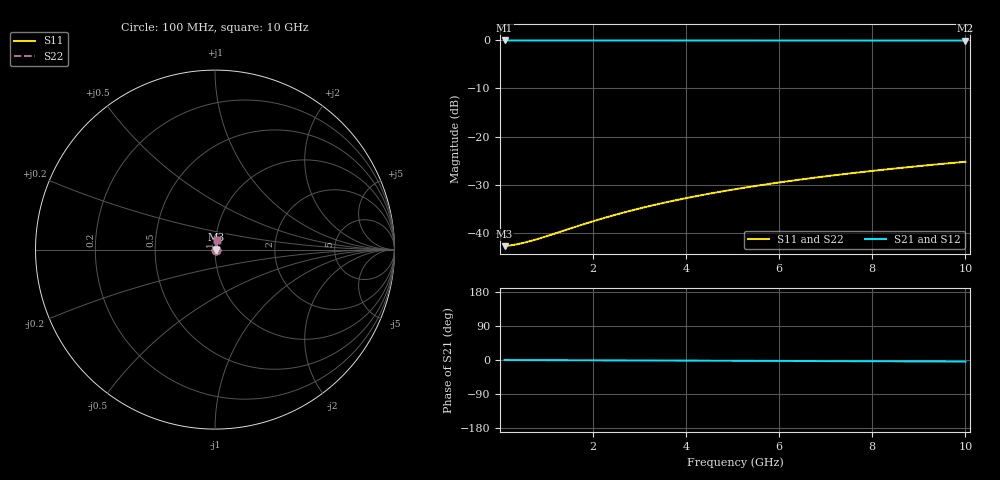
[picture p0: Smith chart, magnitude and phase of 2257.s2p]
# Hz S RI R 50.00
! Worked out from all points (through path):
!   100 points, 100 MHz to 10 GHz, reference 50 ohm
!   highest |S21| = -0.06 dB at 100 MHz (marker M1); lowest = -0.1 dB at 10 GHz (marker M2)
!   lowest |S11| = -42.7 dB at 100 MHz (marker M3), VSWR 1.01, Z = 50.7 + j0.0546 ohm
!   |S11| at or under -10 dB: start of sweep to end of sweep
!   |S22| runs from -42.7 to -25.2 dB; largest |S21 - S12| = 0
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1e8  0.00731 0.000538  0.9927 -0.000709  0.9927 -0.000709  0.00731 0.000538
3e8  0.0074 0.00161  0.9926 -0.00213  0.9926 -0.00213  0.0074 0.00161
4e8  0.00743 0.00215  0.9926 -0.00284  0.9926 -0.00284  0.00743 0.00215
5e8  0.00745 0.00269  0.9925 -0.00355  0.9925 -0.00355  0.00745 0.00269
7e8  0.0075 0.00376  0.9925 -0.00496  0.9925 -0.00496  0.0075 0.00376
1e9  0.00757 0.00538  0.9924 -0.00709  0.9924 -0.00709  0.00757 0.00538
1.8e9  0.00774 0.00967  0.9922 -0.0128  0.9922 -0.0128  0.00774 0.00967
2.2e9  0.00784 0.0118  0.9921 -0.0156  0.9921 -0.0156  0.00784 0.0118
2.6e9  0.00794 0.014  0.992 -0.0184  0.992 -0.0184  0.00794 0.014
3e9  0.00806 0.0161  0.9919 -0.0213  0.9919 -0.0213  0.00806 0.0161
3.4e9  0.00818 0.0183  0.9918 -0.0241  0.9918 -0.0241  0.00818 0.0183
3.8e9  0.00831 0.0204  0.9917 -0.0269  0.9917 -0.0269  0.00831 0.0204
4.2e9  0.00846 0.0226  0.9915 -0.0298  0.9915 -0.0298  0.00846 0.0226
4.6e9  0.00861 0.0247  0.9914 -0.0326  0.9914 -0.0326  0.00861 0.0247
5.1e9  0.00882 0.0274  0.9911 -0.0361  0.9911 -0.0361  0.00882 0.0274
5.5e9  0.009 0.0295  0.9909 -0.039  0.9909 -0.039  0.009 0.0295
5.9e9  0.00919 0.0317  0.9907 -0.0418  0.9907 -0.0418  0.00919 0.0317
6.7e9  0.00961 0.036  0.9903 -0.0475  0.9903 -0.0475  0.00961 0.036
7.5e9  0.0101 0.0402  0.9898 -0.0531  0.9898 -0.0531  0.0101 0.0402
8.4e9  0.0107 0.0451  0.9892 -0.0595  0.9892 -0.0595  0.0107 0.0451
9.2e9  0.0112 0.0493  0.9886 -0.0652  0.9886 -0.0652  0.0112 0.0493
1e10  0.0119 0.0536  0.988 -0.0708  0.988 -0.0708  0.0119 0.0536
